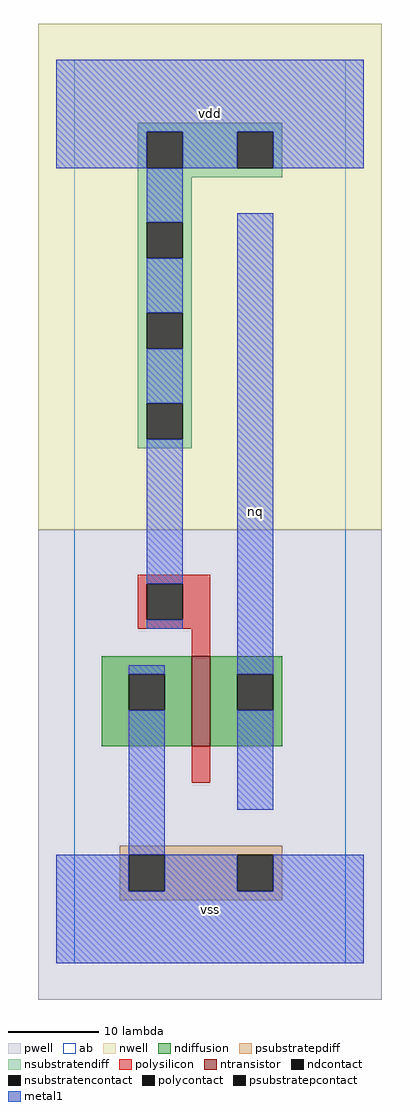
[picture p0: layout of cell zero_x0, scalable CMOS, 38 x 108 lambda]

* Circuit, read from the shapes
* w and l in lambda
.subckt zero_x0 nq vdd vss
M1 nq vdd vss vss nfet w=10 l=2
.ends

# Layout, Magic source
magic
tech scmos
<< ab >>
rect 0 0 30 100
<< pwell >>
rect -4 -4 34 48
<< nwell >>
rect -4 48 34 104
<< polysilicon >>
rect 7 42 15 43
rect 7 38 8 42
rect 12 38 15 42
rect 7 37 15 38
rect 13 34 15 37
rect 13 20 15 24
<< ndiffusion >>
rect 3 32 13 34
rect 3 28 6 32
rect 10 28 13 32
rect 3 24 13 28
rect 15 32 23 34
rect 15 28 18 32
rect 22 28 23 32
rect 15 24 23 28
<< metal1 >>
rect -2 92 32 100
rect -2 88 8 92
rect 12 88 18 92
rect 22 88 32 92
rect 8 82 12 88
rect 8 72 12 78
rect 8 62 12 68
rect 8 42 12 58
rect 8 37 12 38
rect 6 32 10 33
rect 6 12 10 28
rect 18 32 22 83
rect 18 17 22 28
rect -2 8 6 12
rect 10 8 18 12
rect 22 8 32 12
rect -2 0 32 8
<< ntransistor >>
rect 13 24 15 34
<< polycontact >>
rect 8 38 12 42
<< ndcontact >>
rect 6 28 10 32
rect 18 28 22 32
<< psubstratepcontact >>
rect 6 8 10 12
rect 18 8 22 12
<< nsubstratencontact >>
rect 8 88 12 92
rect 18 88 22 92
rect 8 78 12 82
rect 8 68 12 72
rect 8 58 12 62
<< psubstratepdiff >>
rect 5 12 23 13
rect 5 8 6 12
rect 10 8 18 12
rect 22 8 23 12
rect 5 7 23 8
<< nsubstratendiff >>
rect 7 92 23 93
rect 7 88 8 92
rect 12 88 18 92
rect 22 88 23 92
rect 7 87 23 88
rect 7 82 13 87
rect 7 78 8 82
rect 12 78 13 82
rect 7 72 13 78
rect 7 68 8 72
rect 12 68 13 72
rect 7 62 13 68
rect 7 58 8 62
rect 12 58 13 62
rect 7 57 13 58
<< labels >>
rlabel metal1 15 6 15 6 6 vss
rlabel metal1 20 50 20 50 6 nq
rlabel metal1 15 94 15 94 6 vdd
<< end >>
